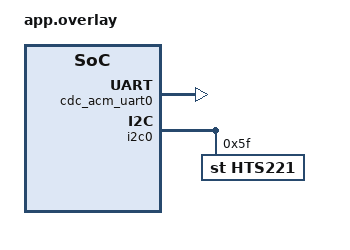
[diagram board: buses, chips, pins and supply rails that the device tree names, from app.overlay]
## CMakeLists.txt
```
# SPDX-License-Identifier: Apache-2.0

cmake_minimum_required(VERSION 3.20.0)
find_package(Zephyr REQUIRED HINTS $ENV{ZEPHYR_BASE})
project(rpi_thermostat)

FILE(GLOB app_sources src/*.c)
target_sources(app PRIVATE ${app_sources})
```

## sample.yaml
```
sample:
  name: CDC ACM USB
tests:
  sample.usb.cdc-acm:
    depends_on: usb_device
    tags: usb
    platform_exclude: native_posix native_posix_64
    harness: console
    harness_config:
      type: one_line
      regex:
        - "Wait for DTR"
  sample.usb_device_next.cdc-acm:
    depends_on: usb_device
    tags: usb
    extra_args: CONF_FILE="usbd_next_prj.conf"
    platform_allow: nrf52840dk_nrf52840 frdm_k64f
    harness: console
    harness_config:
      type: one_line
      regex:
        - "Wait for DTR"
  sample.usb.cdc-acm.comp:
    depends_on: usb_device
    tags: usb
    platform_exclude: native_posix native_posix_64
    extra_args: OVERLAY_CONFIG=overlay-composite-cdc-msc.conf
    harness: console
    harness_config:
      type: one_line
      regex:
        - "Wait for DTR"
  sample.usb.cdc-acm.buildonly:
    depends_on: usb_device
    tags: usb
    platform_allow: native_posix native_posix_64
    build_only: true
    integration_platforms:
      - native_posix
  sample.basic.blinky:
    tags: LED gpio
    filter: dt_enabled_alias_with_parent_compat("led0", "gpio-leds")
    depends_on: gpio
    harness: led
    integration_platforms:
      - frdm_k64f
```

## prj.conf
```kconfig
CONFIG_STDOUT_CONSOLE=y
CONFIG_USB_DEVICE_STACK=y
CONFIG_USB_DEVICE_PRODUCT="Zephyr CDC ACM sample"
CONFIG_USB_DEVICE_PID=0x0001
CONFIG_LOG=y
CONFIG_USB_DRIVER_LOG_LEVEL_ERR=y
CONFIG_USB_DEVICE_LOG_LEVEL_ERR=y
CONFIG_SERIAL=y
CONFIG_UART_INTERRUPT_DRIVEN=y
CONFIG_UART_LINE_CTRL=y
CONFIG_USB_DEVICE_INITIALIZE_AT_BOOT=n
CONFIG_GPIO=y
CONFIG_I2C=y
CONFIG_SENSOR=y
```

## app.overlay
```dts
/*
 * Copyright (c) 2021 Nordic Semiconductor ASA
 *
 * SPDX-License-Identifier: Apache-2.0
 */

&zephyr_udc0 {
	cdc_acm_uart0 {
		compatible = "zephyr,cdc-acm-uart";
	};
};
&i2c0 {
	hts221@5f {
		compatible = "st,hts221";
		reg = <0x5f>;
	};
};
```

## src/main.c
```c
/*
 * Copyright (c) 2019 Intel Corporation
 *
 * SPDX-License-Identifier: Apache-2.0
 */

/**
 * @file
 * @brief Sample echo app for CDC ACM class
 *
 * Sample app for USB CDC ACM class driver. The received data is echoed back
 * to the serial port.
 */

#include <stdio.h>
#include <string.h>

// Generic UART and buffer libraries
#include <zephyr/device.h>
#include <zephyr/drivers/uart.h>
#include <zephyr/kernel.h>
#include <zephyr/sys/ring_buffer.h>

// USB Libraries
#include <zephyr/usb/usb_device.h>
#include <zephyr/usb/usbd.h>
#include <zephyr/logging/log.h>

// GPIO for LED driving
#include <zephyr/drivers/gpio.h>

// Sensor functions
#include <zephyr/drivers/sensor.h>
#include <zephyr/sys/util.h>



//
// GPIO Functions and initializations
//
/* 1000 msec = 1 sec */
#define SLEEP_TIME_MS   2000

/* The devicetree node identifier for the "led0" alias. */
#define LED0_NODE DT_ALIAS(led0)

/*
 * A build error on this line means your board is unsupported.
 * See the sample documentation for information on how to fix this.
 */
static const struct gpio_dt_spec led = GPIO_DT_SPEC_GET(LED0_NODE, gpios);
static struct device * hts221Dev = NULL;
static struct device *uartDev = NULL;


static void uart_send(char* str);


/*
* @function: blinky
* @description: infinite loop blinking the LED. Blocking, other threads must be started or interrupts configured
* @parameters: none
* @return: none
*/
static void blinky(){
	int ret;
	ret = gpio_pin_toggle_dt(&led);
	if (ret < 0) {
		return;
	}

}

static void blinky_init(){
	int ret;

	if (!gpio_is_ready_dt(&led)) {
		return;
	}

	ret = gpio_pin_configure_dt(&led, GPIO_OUTPUT_ACTIVE);
	if (ret < 0) {
		return;
	}
}

//
// I2C Functions and initializations
//
static void hts221_init(){
	hts221Dev = DEVICE_DT_GET_ONE(st_hts221);
	if (!device_is_ready(hts221Dev)) {
		uart_send("hts221 device not ready \r\n");
		return;
	}
	else
	{
		uart_send("hts221 device OK \r\n");
	}
	
}

static void hts221_read(){
	char str[64];
	int strIndex = 0;
	struct sensor_value temp, hum;
	if (sensor_sample_fetch(hts221Dev) < 0) {
		uart_send("Sensor sample update error\n");
		return;
	}

	if (sensor_channel_get(hts221Dev, SENSOR_CHAN_AMBIENT_TEMP, &temp) < 0) {
		uart_send("Cannot read HTS221 temperature channel\n");
		return;
	}

	if (sensor_channel_get(hts221Dev, SENSOR_CHAN_HUMIDITY, &hum) < 0) {
		uart_send("Cannot read HTS221 humidity channel\n");
		return;
	}

	/* display temperature */
	strIndex += sprintf(str + strIndex, "T:%d.%d C\r\n", temp.val1, temp.val2/10000);

	/* display humidity */
	sprintf(str + strIndex, "RH:%d.%d%%\r\n", hum.val1, hum.val2/10000);

	uart_send(str);
}


//
// USB and CDC Functions and initializations
//

LOG_MODULE_REGISTER(cdc_acm_echo, LOG_LEVEL_INF);

#define RING_BUF_SIZE 1024
uint8_t ring_buffer[RING_BUF_SIZE];

struct ring_buf ringbuf;

#if defined(CONFIG_USB_DEVICE_STACK_NEXT)
USBD_CONFIGURATION_DEFINE(config_1,
			  USB_SCD_SELF_POWERED,
			  200);

USBD_DESC_LANG_DEFINE(sample_lang);
USBD_DESC_STRING_DEFINE(sample_mfr, "ZEPHYR", 1);
USBD_DESC_STRING_DEFINE(sample_product, "Zephyr USBD CDC ACM", 2);
USBD_DESC_STRING_DEFINE(sample_sn, "0123456789ABCDEF", 3);

USBD_DEVICE_DEFINE(sample_usbd,
		   DEVICE_DT_GET(DT_NODELABEL(zephyr_udc0)),
		   0x2fe3, 0x0001);

static int enable_usb_device_next(void)
{
	int err;

	err = usbd_add_descriptor(&sample_usbd, &sample_lang);
	if (err) {
		LOG_ERR("Failed to initialize language descriptor (%d)", err);
		return err;
	}

	err = usbd_add_descriptor(&sample_usbd, &sample_mfr);
	if (err) {
		LOG_ERR("Failed to initialize manufacturer descriptor (%d)", err);
		return err;
	}

	err = usbd_add_descriptor(&sample_usbd, &sample_product);
	if (err) {
		LOG_ERR("Failed to initialize product descriptor (%d)", err);
		return err;
	}

	err = usbd_add_descriptor(&sample_usbd, &sample_sn);
	if (err) {
		LOG_ERR("Failed to initialize SN descriptor (%d)", err);
		return err;
	}

	err = usbd_add_configuration(&sample_usbd, &config_1);
	if (err) {
		LOG_ERR("Failed to add configuration (%d)", err);
		return err;
	}

	err = usbd_register_class(&sample_usbd, "cdc_acm_0", 1);
	if (err) {
		LOG_ERR("Failed to register CDC ACM class (%d)", err);
		return err;
	}

	err = usbd_init(&sample_usbd);
	if (err) {
		LOG_ERR("Failed to initialize device support");
		return err;
	}

	err = usbd_enable(&sample_usbd);
	if (err) {
		LOG_ERR("Failed to enable device support");
		return err;
	}

	LOG_DBG("USB device support enabled");

	return 0;
}
#endif /* IS_ENABLED(CONFIG_USB_DEVICE_STACK_NEXT) */

static void interrupt_handler(const struct device *dev, void *user_data)
{
	ARG_UNUSED(user_data);

	while (uart_irq_update(dev) && uart_irq_is_pending(dev)) {
		if (uart_irq_rx_ready(dev)) {
			int recv_len, rb_len;
			uint8_t buffer[64];
			size_t len = MIN(ring_buf_space_get(&ringbuf),
					 sizeof(buffer));

			recv_len = uart_fifo_read(dev, buffer, len);
			if (recv_len < 0) {
				LOG_ERR("Failed to read UART FIFO");
				recv_len = 0;
			};

			rb_len = ring_buf_put(&ringbuf, buffer, recv_len);
			rb_len += ring_buf_put(&ringbuf, "\r\n--", 4);
			if (rb_len < recv_len) {
				LOG_ERR("Drop %u bytes", recv_len - rb_len);
			}

			LOG_DBG("tty fifo -> ringbuf %d bytes", rb_len);
			if (rb_len) {
				uart_irq_tx_enable(dev);
			}
		}

		if (uart_irq_tx_ready(dev)) {
			uint8_t buffer[64];
			int rb_len, send_len;

			rb_len = ring_buf_get(&ringbuf, buffer, sizeof(buffer));
			if (!rb_len) {
				LOG_DBG("Ring buffer empty, disable TX IRQ");
				uart_irq_tx_disable(dev);
				continue;
			}

			send_len = uart_fifo_fill(dev, buffer, rb_len);
			if (send_len < rb_len) {
				LOG_ERR("Drop %d bytes", rb_len - send_len);
			}

			LOG_DBG("ringbuf -> tty fifo %d bytes", send_len);
		}
	}
}

static void uart_init(){

	uint32_t baudrate, dtr = 0U;
	int ret = 0;
	// Setting up the usb cdc to detect interrupts
	uartDev = DEVICE_DT_GET_ONE(zephyr_cdc_acm_uart);
	if (!device_is_ready(uartDev)) {
		LOG_ERR("CDC ACM device not ready");
		return ;
	}
	#if defined(CONFIG_USB_DEVICE_STACK_NEXT)
		ret = enable_usb_device_next();
	#else
		ret = usb_enable(NULL);
	#endif
	if (ret != 0) {
		LOG_ERR("Failed to enable USB");
		return;
	}
	ring_buf_init(&ringbuf, sizeof(ring_buffer), ring_buffer);

	LOG_INF("Wait for DTR");

	while (true) {
		uart_line_ctrl_get(uartDev, UART_LINE_CTRL_DTR, &dtr);
		if (dtr) {
			break;
		} else {
			/* Give CPU resources to low priority threads. */
			k_sleep(K_MSEC(100));
		}
	}
	LOG_INF("DTR set");


	/* They are optional, we use them to test the interrupt endpoint */
	ret = uart_line_ctrl_set(uartDev, UART_LINE_CTRL_DCD, 1);
	if (ret) {
		LOG_WRN("Failed to set DCD, ret code %d", ret);
	}

	ret = uart_line_ctrl_set(uartDev, UART_LINE_CTRL_DSR, 1);
	if (ret) {
		LOG_WRN("Failed to set DSR, ret code %d", ret);
	}

	/* Wait 100ms for the host to do all settings */
	k_msleep(100);

	ret = uart_line_ctrl_get(uartDev, UART_LINE_CTRL_BAUD_RATE, &baudrate);
	if (ret) {
		LOG_WRN("Failed to get baudrate, ret code %d", ret);
	} else {
		LOG_INF("Baudrate detected: %d", baudrate);
	}

	uart_irq_callback_set(uartDev, interrupt_handler);

	/* Enable rx interrupts */
	uart_irq_rx_enable(uartDev);
}

static void uart_send(char* str){

	int send_len;

	uart_irq_tx_enable(uartDev);

	// while (!uart_irq_tx_ready(uartDev)) {
	// 	k_msleep(100);
	// }

	send_len = uart_fifo_fill(uartDev, str, strlen(str));
	if (send_len < strlen(str)) {
		LOG_ERR("Drop %d bytes", strlen(str) - send_len);
	}

	LOG_DBG("ringbuf -> tty fifo %d bytes", send_len);
	
}


int main(void)
{
	
	uart_init();
	hts221_init();
	blinky_init();

	while(1){
		blinky();
		hts221_read();

		k_msleep(SLEEP_TIME_MS);

	}

	

	return 0;
}
```
